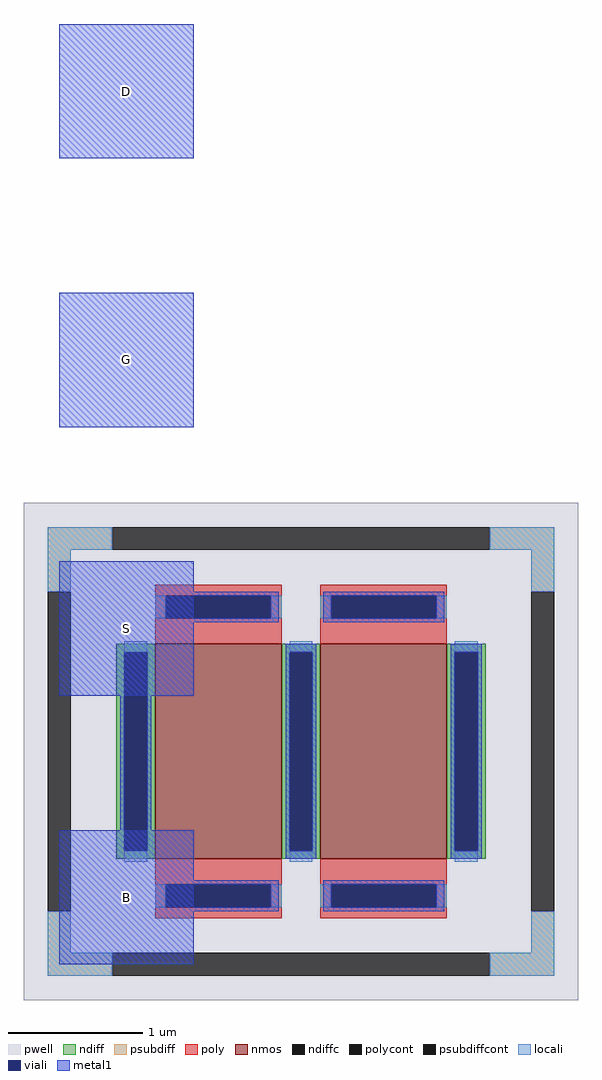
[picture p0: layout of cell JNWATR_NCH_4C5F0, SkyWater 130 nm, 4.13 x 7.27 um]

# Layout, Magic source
magic
tech sky130A
magscale 1 2
<< metal1 >>
rect 0 0 200 200
rect 0 -400 200 -200
rect 0 -800 200 -600
rect 0 -1200 200 -1000
use sky130_fd_pr__nfet_01v8_YW5HAX  XM1
transform 1 0 360 0 1 -883
box -413 -370 413 370
<< labels >>
flabel metal1 0 0 200 200 0 FreeSans 256 0 0 0 D
port 0 nsew
flabel metal1 0 -400 200 -200 0 FreeSans 256 0 0 0 G
port 1 nsew
flabel metal1 0 -800 200 -600 0 FreeSans 256 0 0 0 S
port 2 nsew
flabel metal1 0 -1200 200 -1000 0 FreeSans 256 0 0 0 B
port 3 nsew
<< end >>

# cell sky130_fd_pr__nfet_01v8_YW5HAX: kit device sky130_fd_pr__nfet_01v8, w 1.6 l 0.94 m 1 nf 2 diffcov 100 polycov 100 guard 1 glc 1 grc 1 gtc 1 gbc 1 tbcov 100 rlcov 100 topc 1 botc 1 poverlap 0 doverlap 1 lmin 0.15 wmin 0.42 class mosfet compatible {sky130_fd_pr__nfet_01v8 sky130_fd_pr__nfet_01v8_lvt sky130_fd_bs_flash__special_sonosfet_star sky130_fd_pr__nfet_g5v0d10v5 sky130_fd_pr__nfet_05v0_nvt sky130_fd_pr__nfet_03v3_nvt} full_metal 1 viasrc 100 viadrn 100 viagate 100 viagb 0 viagr 0 viagl 0 viagt 0 doports 1 ad {int((nf+1)/2) * W/nf * 0.29} as {int((nf+2)/2) * W/nf * 0.29} pd {2*int((nf+1)/2) * (W/nf + 0.29)} ps {2*int((nf+2)/2) * (W/nf + 0.29)} nrd {0.29 / W} nrs {0.29 / W} sa 0 sb 0 sd 0 mult 1
